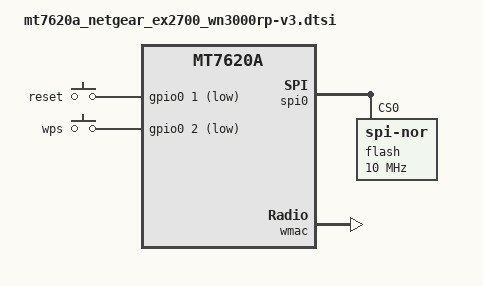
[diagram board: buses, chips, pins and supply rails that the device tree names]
#include "mt7620a.dtsi"

#include <dt-bindings/gpio/gpio.h>
#include <dt-bindings/input/input.h>

/ {
	keys {
		compatible = "gpio-keys";

		reset {
			label = "reset";
			gpios = <&gpio0 1 GPIO_ACTIVE_LOW>;
			linux,code = <KEY_RESTART>;
		};

		wps {
			label = "wps";
			gpios = <&gpio0 2 GPIO_ACTIVE_LOW>;
			linux,code = <KEY_WPS_BUTTON>;
		};
	};
};

&gpio1 {
	status = "okay";
};

&spi0 {
	status = "okay";

	flash@0 {
		compatible = "jedec,spi-nor";
		reg = <0>;
		spi-max-frequency = <10000000>;

		partitions: partitions {
			compatible = "fixed-partitions";
			#address-cells = <1>;
			#size-cells = <1>;
		};
	};
};

&ethernet {
	mtd-mac-address = <&art 0x0>;
};

&wmac {
	ralink,mtd-eeprom = <&art 0x1000>;
	mtd-mac-address = <&art 0x6>;
};

&state_default {
	default {
		groups = "i2c", "uartf", "spi refclk";
		function = "gpio";
	};
};
